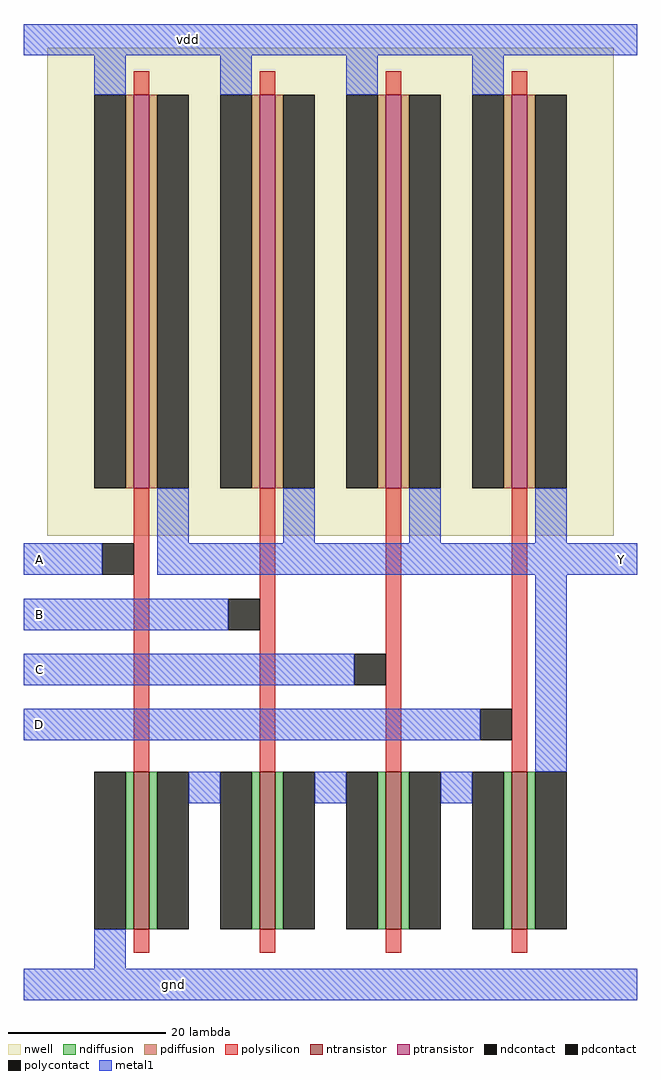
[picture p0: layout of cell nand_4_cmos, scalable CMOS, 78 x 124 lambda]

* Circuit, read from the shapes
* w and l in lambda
.subckt nand_4_cmos A B C D Y gnd vdd
M1 n1 A gnd VSUBS nfet w=20 l=2
M2 n2 B n1 VSUBS nfet w=20 l=2
M3 n3 C n2 VSUBS nfet w=20 l=2
M4 Y D n3 VSUBS nfet w=20 l=2
M5 Y A vdd n4 pfet w=50 l=2
M6 Y B vdd n4 pfet w=50 l=2
M7 Y C vdd n4 pfet w=50 l=2
M8 Y D vdd n4 pfet w=50 l=2
.ends

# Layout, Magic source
magic
tech scmos
<< nwell >>
rect -6 -6 66 56
<< ntransistor >>
rect 5 -56 7 -36
rect 21 -56 23 -36
rect 37 -56 39 -36
rect 53 -56 55 -36
<< ptransistor >>
rect 5 0 7 50
rect 21 0 23 50
rect 37 0 39 50
rect 53 0 55 50
<< ndiffusion >>
rect 4 -56 5 -36
rect 7 -56 8 -36
rect 20 -56 21 -36
rect 23 -56 24 -36
rect 36 -56 37 -36
rect 39 -56 40 -36
rect 52 -56 53 -36
rect 55 -56 56 -36
<< pdiffusion >>
rect 4 0 5 50
rect 7 0 8 50
rect 20 0 21 50
rect 23 0 24 50
rect 36 0 37 50
rect 39 0 40 50
rect 52 0 53 50
rect 55 0 56 50
<< ndcontact >>
rect 0 -56 4 -36
rect 8 -56 12 -36
rect 16 -56 20 -36
rect 24 -56 28 -36
rect 32 -56 36 -36
rect 40 -56 44 -36
rect 48 -56 52 -36
rect 56 -56 60 -36
<< pdcontact >>
rect 0 0 4 50
rect 8 0 12 50
rect 16 0 20 50
rect 24 0 28 50
rect 32 0 36 50
rect 40 0 44 50
rect 48 0 52 50
rect 56 0 60 50
<< polysilicon >>
rect 5 50 7 53
rect 21 50 23 53
rect 37 50 39 53
rect 53 50 55 53
rect 5 -36 7 0
rect 21 -36 23 0
rect 37 -36 39 0
rect 53 -36 55 0
rect 5 -59 7 -56
rect 21 -59 23 -56
rect 37 -59 39 -56
rect 53 -59 55 -56
<< polycontact >>
rect 1 -11 5 -7
rect 17 -18 21 -14
rect 33 -25 37 -21
rect 49 -32 53 -28
<< metal1 >>
rect -9 55 69 59
rect 0 50 4 55
rect 16 50 20 55
rect 32 50 36 55
rect 48 50 52 55
rect 8 -7 12 0
rect 24 -7 28 0
rect 40 -7 44 0
rect 56 -7 60 0
rect -9 -11 1 -7
rect 8 -11 69 -7
rect -9 -18 17 -14
rect -9 -25 33 -21
rect -9 -32 49 -28
rect 56 -36 60 -11
rect 12 -40 16 -36
rect 28 -40 32 -36
rect 44 -40 48 -36
rect 0 -61 4 -56
rect -9 -65 69 -61
<< labels >>
rlabel metal1 10 55 14 59 5 vdd
rlabel metal1 -9 -11 -5 -7 3 A
rlabel metal1 -9 -18 -5 -14 3 B
rlabel metal1 -9 -25 -5 -21 3 C
rlabel metal1 8 -65 12 -61 1 gnd
rlabel metal1 -9 -32 -5 -28 3 D
rlabel metal1 65 -11 69 -7 7 Y
<< end >>
